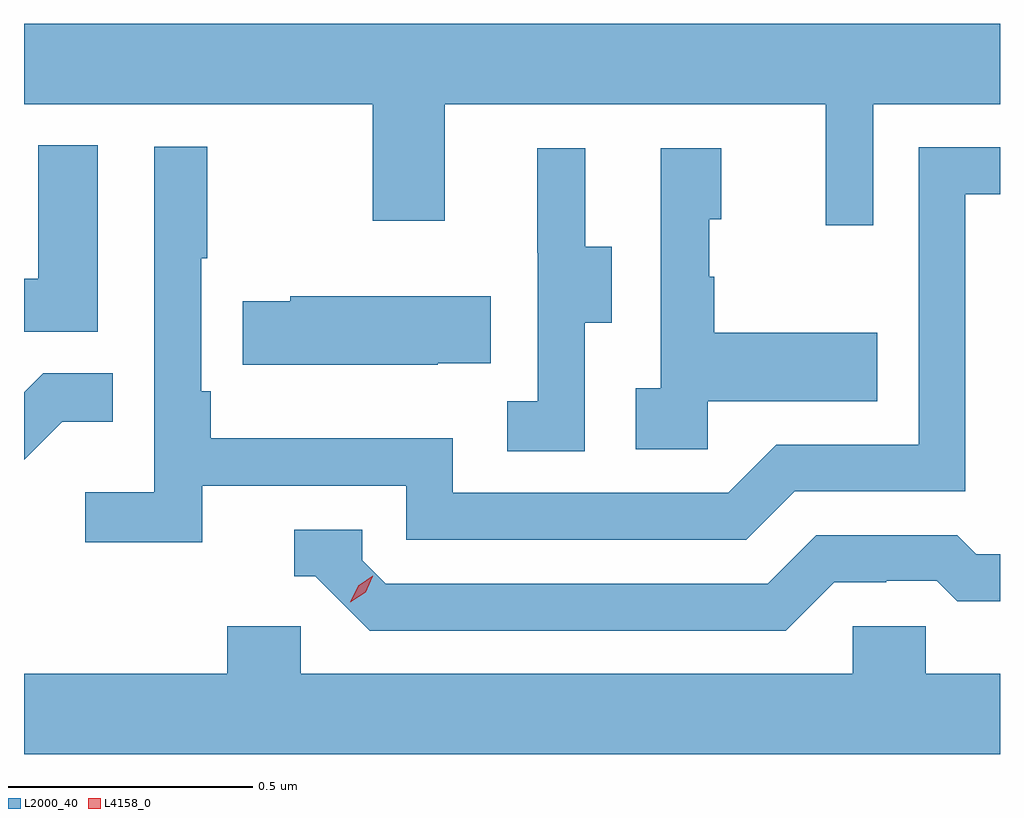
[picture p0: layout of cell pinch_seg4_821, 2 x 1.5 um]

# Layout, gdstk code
import gdstk
lib = gdstk.Library(unit=1e-6, precision=1e-09)
def P(c, l, *ps):  # polygons
    for p in ps: c.add(gdstk.Polygon(p, *l))
L2000_40 = (2000, 40)
L4158_0 = (4158, 0)

pinch_seg4_821 = lib.new_cell('pinch_seg4_821')
P(pinch_seg4_821, L2000_40, [(819.753,811.472),(820.013,811.472),(820.013,811.636),(818.013,811.636),(818.013,811.472),(818.728,811.472),(818.728,811.233),(818.875,811.233),(818.875,811.472),(819.656,811.472),(819.656,811.224),(819.753,811.224)],
  [(818.164,811.387),(818.042,811.387),(818.042,811.114),(818.013,811.114),(818.013,811.005),(818.164,811.005)],
  [(818.378,810.69),(818.796,810.69),(818.796,810.579),(819.493,810.579),(819.592,810.678),(819.942,810.678),(819.942,811.287),(820.013,811.287),(820.013,811.383),(819.846,811.383),(819.846,810.774),(819.555,810.774),(819.456,810.675),(818.892,810.675),(818.892,810.787),(818.396,810.787),(818.396,810.883),(818.376,810.883),(818.376,811.156),(818.389,811.156),(818.389,811.384),(818.28,811.384),(818.28,810.676),(818.139,810.676),(818.139,810.574),(818.378,810.574)],
  [(819.162,811.024),(819.217,811.024),(819.217,811.179),(819.163,811.179),(819.163,811.381),(819.065,811.381),(819.065,811.167),(819.066,811.167),(819.066,810.863),(819.003,810.863),(819.003,810.76),(819.162,810.76)],
  [(819.414,810.863),(819.761,810.863),(819.761,811.003),(819.427,811.003),(819.427,811.118),(819.417,811.118),(819.417,811.236),(819.442,811.236),(819.442,811.381),(819.318,811.381),(819.318,810.89),(819.267,810.89),(819.267,810.765),(819.414,810.765)],
  [(818.861,810.941),(818.969,810.941),(818.969,811.078),(818.559,811.078),(818.559,811.068),(818.461,811.068),(818.461,810.938),(818.861,810.938)],
  [(818.091,810.821),(818.195,810.821),(818.195,810.92),(818.052,810.92),(818.013,810.881),(818.013,810.743)],
  [(819.673,810.492),(819.78,810.492),(819.78,810.495),(819.883,810.495),(819.925,810.453),(820.013,810.453),(820.013,810.549),(819.964,810.549),(819.925,810.588),(819.636,810.588),(819.537,810.489),(818.754,810.489),(818.706,810.537),(818.706,810.6),(818.567,810.6),(818.567,810.504),(818.61,810.504),(818.721,810.393),(819.574,810.393)],
  [(820.013,810.304),(819.861,810.304),(819.861,810.402),(819.711,810.402),(819.711,810.304),(818.58,810.304),(818.58,810.402),(818.429,810.402),(818.429,810.304),(818.013,810.304),(818.013,810.14),(820.013,810.14)])
P(pinch_seg4_821, L4158_0, [(818.682,810.451),(818.682,810.452),(818.698,810.485),(818.728,810.505),(818.728,810.505),(818.728,810.504),(818.713,810.471),(818.682,810.451)])

lib.write_gds('pinch_seg4_821.gds')
